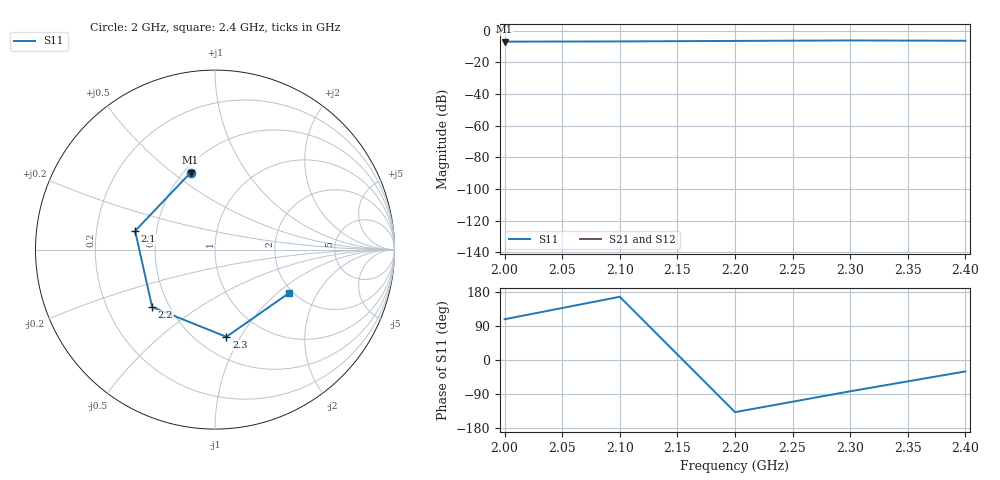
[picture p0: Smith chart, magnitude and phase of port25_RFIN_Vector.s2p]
!National Instruments | Interval: 30 Days
!National Instruments | Date: 1:54:09.440 PM 11/5/2024
# GHZ S DB R 50
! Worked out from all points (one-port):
!   5 points, 2 GHz to 2.4 GHz, reference 50 ohm
!   lowest |S11| = -6.9 dB at 2 GHz (marker M1), VSWR 2.64, Z = 27.1 + j29.1 ohm
!   |S11| at or under -10 dB: nowhere
!   S11 on the Smith chart (normalised r, x): 2 GHz: 0.54, +0.58; 2.1 GHz: 0.38, +0.10; 2.2 GHz: 0.40, -0.33; 2.3 GHz: 0.68, -0.87; 2.4 GHz: 1.92, -1.20
2  -6.94 107.6  -159.43 -43.9  -159.43 -43.9  -322.56 117.8
2.1  -6.80 166.8  -156.53 -64.0  -156.53 -64.0  -319.63 43.0
2.2  -6.48 -137.6  -155.08 -135.3  -155.08 -135.3  -316.89 -129.1
2.3  -6.19 -82.6  -160.05 143.5  -160.05 143.5  -325.50 38.4
2.4  -6.39 -30.1  -156.46 -166.7  -156.46 -166.7  -321.64 57.0
